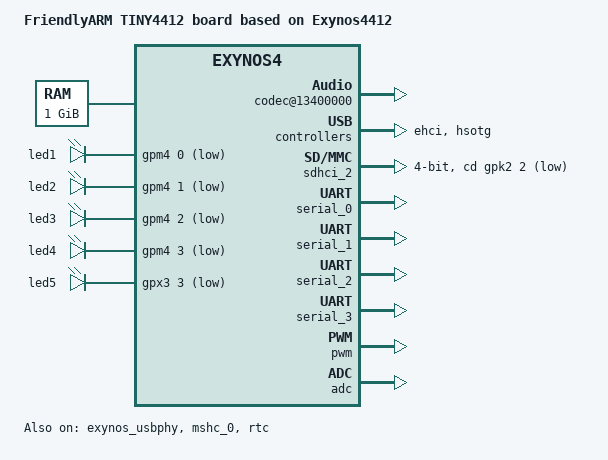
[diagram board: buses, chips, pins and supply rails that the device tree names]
/*
 * FriendlyARM's Exynos4412 based TINY4412 board device tree source
 *
 * Copyright (c) 2013 Alex Ling <kasimling@gmail.com>
 *
 * Device tree source file for FriendlyARM's TINY4412 board which is based on
 * Samsung's Exynos4412 SoC.
 *
 * This program is free software; you can redistribute it and/or modify
 * it under the terms of the GNU General Public License version 2 as
 * published by the Free Software Foundation.
*/

/dts-v1/;
#include "exynos4412.dtsi"
#include <dt-bindings/gpio/gpio.h>

/ {
	model = "FriendlyARM TINY4412 board based on Exynos4412";
	compatible = "friendlyarm,tiny4412", "samsung,exynos4412", "samsung,exynos4";

	chosen {
		stdout-path = &serial_0;
	};

	memory {
		reg = <0x40000000 0x40000000>;
	};

	leds {
		compatible = "gpio-leds";

		led1 {
			label = "led1";
			gpios = <&gpm4 0 GPIO_ACTIVE_LOW>;
			default-state = "off";
			linux,default-trigger = "heartbeat";
		};

		led2 {
			label = "led2";
			gpios = <&gpm4 1 GPIO_ACTIVE_LOW>;
			default-state = "off";
			linux,default-trigger = "mmc1";
		};

		led3 {
			label = "led3";
			gpios = <&gpm4 2 GPIO_ACTIVE_LOW>;
			default-state = "off";
			linux,default-trigger = "mmc0";
		};

		led4 {
			label = "led4";
			gpios = <&gpm4 3 GPIO_ACTIVE_LOW>;
			default-state = "off";
		};

		led5 {
			label = "led5";
			gpios = <&gpx3 3 GPIO_ACTIVE_LOW>;
			default-state = "off";
		};

	};

	fixed-rate-clocks {
		xxti {
			compatible = "samsung,clock-xxti";
			clock-frequency = <0>;
		};

		xusbxti {
			compatible = "samsung,clock-xusbxti";
			clock-frequency = <24000000>;
		};
	};

	codec@13400000 {
                status = "okay";
		samsung,mfc-r = <0x43000000 0x4000000>;
		samsung,mfc-l = <0x51000000 0x4000000>;
	};
};

&ehci {
	status = "okay";
	samsung,vbus-gpio = <&gpm2 4 1 3 3>;
	
	port@0 {
		status = "okay";
	};
	port@1 {
		status = "okay";
	};
	port@2 {
		status = "okay";
	};
};

&exynos_usbphy {
	status = "okay";
};

&hsotg {
	status = "okay";
};
	
&mshc_0 {
	pinctrl-0 = <&sd4_clk &sd4_cmd &sd4_bus4 &sd4_bus8>;
	pinctrl-names = "default";
	status = "okay";

	num-slots = <1>;
	broken-cd;
	card-detect-delay = <200>;
	samsung,dw-mshc-sdr-timing = <1 1>;
	samsung,dw-mshc-ddr-timing = <1 1>;
	bus-width = <8>;
	non-removable;
	cap-mmc-highspeed;
};

&rtc {
	status = "okay";
};

&sdhci_2 {
	bus-width = <4>;
	pinctrl-0 = <&sd2_clk &sd2_cmd &sd2_cd &sd2_bus4>;
	pinctrl-names = "default";
	cd-gpios = <&gpk2 2 0>;
	cd-inverted;
	status = "okay";
};

&serial_0 {
	status = "okay";
};

&serial_1 {
	status = "okay";
};

&serial_2 {
	status = "okay";
};

&serial_3 {
	status = "okay";
};

&pwm {
	pinctrl-0 = <&pwm0_out &pwm1_out>;
	pinctrl-names = "default";
	samsung,pwm-outputs = <0>, <1>;
	status = "okay";
};

&adc {
	status = "okay";
};
